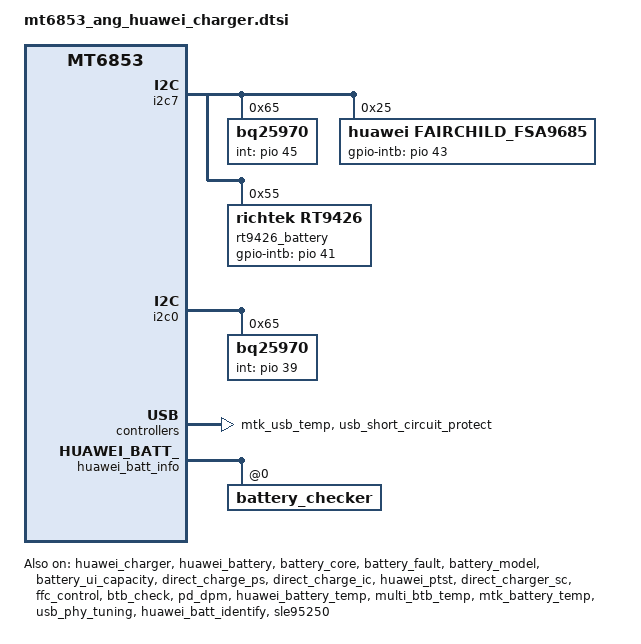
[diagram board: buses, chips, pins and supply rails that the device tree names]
&charger {
	ac_charger_current = <2100000>;
	ac_charger_input_current = <2000000>;
	fcp_charger_current = <2800000>;
	fcp_charger_input_current = <1500000>;
	non_std_ac_charger_current = <1500000>;
	pd_vbus_upper_bound = <9000000>;
	max_charger_voltage = <12000000>;
	bc12_charger = <22>; /* usb switch do bc12 */
	dpm_enable;
	ignore_batt_check = <1>;
	battery_cv = <4440000>;
	iterm = <500000>;
	vbus_max_limit = <11500>;
	jeita_temp_t2_to_t3_cv = <4440000>;
	jeita_temp_t1_to_t2_cv = <4440000>;
	jeita_temp_t0_to_t1_cv = <4440000>;
	jeita_temp_t2_to_t3_cur = <2100000>;
	vdpm_buf_limit = <100>;
	vdpm_para =
			"-32767", "4000", "4300", "50",
			"4000", "4200", "4500", "50",
			"4200", "32767", "4600", "50";
	charge_full_design = <3700000>;
};

&pio {
	bq25970_main_irq_pins_default: bq25970_main_irq_pins_default {
		pins_cmd_dat {
			pinmux = <PINMUX_GPIO45__FUNC_GPIO45>;
			slew-rate = <0>;
			bias-pull-up;
		};
	};
	bq25970_aux_irq_pins_default: bq25970_aux_irq_pins_default {
		pins_cmd_dat {
			pinmux = <PINMUX_GPIO39__FUNC_GPIO39>;
			slew-rate = <0>;
			bias-pull-up;
		};
	};
	fsa9685_irq_pins_default: fsa9685_irq_pins_default {
		pins_cmd_dat {
			pinmux = <PINMUX_GPIO43__FUNC_GPIO43>;
			slew-rate = <0>;
			bias-pull-up;
		};
	};
	rt9426_irq_pins_default: rt9426_irq_pins_default {
		pins_cmd_dat {
			pinmux = <PINMUX_GPIO41__FUNC_GPIO41>;
			slew-rate = <0>;
			bias-pull-up;
		};
	};
	bq27z561_irq_pins_default: bq27z561_irq_pins_default {
		pins_cmd_dat {
			pinmux = <PINMUX_GPIO41__FUNC_GPIO41>;
			slew-rate = <0>;
			bias-pull-up;
		};
	};
	battct_swi_pins_default: battct_swi_pins_default {
		pins_cmd_dat {
			pinmux = <PINMUX_GPIO46__FUNC_GPIO46>;
			slew-rate = <0>;
			bias-disabled;
			input-enable;
			drive-strength = <3>;
		};
	};
	battct_id_pins_default: battct_id_pins_default {
		pins_cmd_dat {
			pinmux = <PINMUX_GPIO48__FUNC_GPIO48>;
			slew-rate = <0>;
			bias-disabled;
			output-high;
		};
	};
};

&i2c7 {
	bq25970@65 {
		compatible = "bq25970";
		pinctrl-names = "default";
		pinctrl-0 = <&bq25970_main_irq_pins_default>;
		gpio_int = <&pio 45 0x0>;
		switching_frequency = <675>;
		sense_r_config = <20>;
		sense_r_actual = <10>;
		reg = <0x65>;
		status = "ok";
	};

	fairchild_fsa9685@25 {
		compatible = "huawei,fairchild_fsa9685";
		reg = <0x25>;
		pinctrl-names = "default";
		pinctrl-0 = <&fsa9685_irq_pins_default>;
		fairchild_fsa9685,gpio-intb = <&pio 43 0x0>;
		fcp_support = <1>;
		scp_support = <1>;
		power_by_5v = <1>;
		close_bc12 = <1>;
		need_other_bc12 = <0>;
		ignore_force_ac = <1>;
		/* for rt8979 */
		interrupt-names = "vbus_change", "device_change", "detach",
			"attach";
		/* auto_switch; */
		scp;
		dcd;
		dcd_timeout = <600>;  /* ms */
		intb_watchdog = <1000>;  /* ms */
		ovp_sel = <14500000>;  /* uV */
		status = "ok";
	};
	bq27z561_fg@55 {
		reg = <0x55>;
		compatible = "huawei,bq27z561";
		status = "disabled";
		pinctrl-names = "default";
		pinctrl-0 = <&bq27z561_irq_pins_default>;
		bq27z561,gpio-intb = <&pio 41 0x0>;
		ntc_compensation_is = <1>;
		ntc_temp_compensation_para =
			"11000", "140",
			"10000", "120",
			"9000", "100",
			"8000", "80",
			"7000", "60",
			"6000", "50",
			"5000", "40",
			"3000", "20",
			"2000", "10";
		batt_default_name = "BCYCAE_3700_4445_BT167";
		#include "ti_BCYCAE_4445_3700mah_BT167.dtsi"
	};
	rt9426_battery@55{
		reg = <0x55>;
		rt,bat_name = "rt_battery";
		compatible = "richtek,rt9426";
		pinctrl-names = "default";
		pinctrl-0 = <&rt9426_irq_pins_default>;
		rt9426,gpio-intb = <&pio 41 0x0>;
		rt,dtsi_version = <06 926>;
		rt,battery_type = <4400>;
		rt,volt_source = <1>;		/* 0:AP 1:FG_VBAT 2:FG_OCV; 3:FG_AV  */
		rt,temp_source = <1>;		/* 0:AP 1:FG_TEMP 2:FG_INTT; 3:FG_AT */
		rt,curr_source = <2>;		/* 0:AP 1:FG_CURR 2:FG_AI            */
		rt,offset_interpolation_order = <2 2>;
		rt,soc_offset_size = <2 1>;
		rt,soc_offset_data = < 0 250 0 1000 250 0>;
		rt,extreg_size = <30>;
		rt_config_ver = <7>;
		rt,extreg_data = <
			0x1 0x4A 0x320B
			0x1 0x4C 0x0402
			0x1 0x4E 0x2828
			0x2 0x4E 0x2404
			0x3 0x4E 0xB71C
			0x5 0x48 0x020A
			0x5 0x4C 0x3223
			0x6 0x40 0x8813
			0x6 0x42 0x8224
			0x6 0x44 0xAF77
			0x6 0x48 0xA310
			0x6 0x4A 0x6852
			0x6 0x4C 0x6457
			0x6 0x4E 0x0464
			0x7 0x40 0x0D12
			0x7 0x42 0x0508
			0x7 0x44 0x0505
			0x7 0x46 0x0101
			0x7 0x48 0x0101
			0x7 0x4A 0x0101
			0x7 0x4C 0x0001
			0x7 0x4E 0xFFFF
			0x8 0x40 0xFFFE
			0x8 0x42 0xFFFF
			0x8 0x44 0xFAFA
			0x8 0x46 0xF9FA
			0x8 0x48 0xFFFF
			0x8 0x4A 0xF2FF
			0x8 0x4C 0xECF2
			0x8 0x4E 0x00E7 >;
		rt,design_capacity = <1480>;
		rt,fcc = <1476>;
		rt,fg_fc_vth = <0x9F>;
		rt,fg_fc_ith = <0x3A>;
		rt,fg_fc_sth = <0x05>;
		rt,fg_fd_vth = <0x6A>;
		rt,fg_op_config = <0x3400 0x0000 0x3EFB 0x2000 0x087E>;
		rt,fg_otc_tth = <0x0064>;
		rt,fg_otc_chg_ith = <0x045F>;
		rt,fg_otd_tth = <0x0064>;
		rt,fg_otd_dchg_ith = <0x045F>;
		rt,fg_uvov_threshold = <0x00FF>;
		rt,fg_us_threshold = <0x00>;
		rt,fg_curr_db = <0x04>;
		rt,rs_ic_setting = <250>; /* 2.5mR */
		rt,rs_schematic = <100>; /* 1.0mR */
		rt,smooth_soc_en = <0>;  /* 0: disable(default) ; 1: enable */
		rt,fg_ocv_table = < 0x0013 0x44C0 0x4B00 0x55F3 0x5A60 0x5BED 0x5C93 0x5DFA
				0x5FA6 0x60AD 0x619A 0x62CD 0x63AD 0x662D 0x687A 0x69E0
				0x6B0D 0x6C46 0x6DC0 0x706D 0x1900 0x0AF3 0x0367 0x01A2
				0x002B 0x004B 0x0035 0x003E 0x0058 0x00A6 0x0080 0x007F
				0x0090 0x0092 0x008F 0x008B 0x006D 0x0112 0x0013 0xFF80
				0x0000 0x0200 0x049A 0x0680 0x0E4D 0x17E6 0x281A 0x309A
				0x3600 0x39B3 0x3D33 0x474D 0x4F80 0x5466 0x589A 0x5D1A
				0x6400 0x6900 0x000A 0x0017 0x004B 0x009D 0x0600 0x036E
				0x04D6 0x0425 0x02EB 0x018B 0x0200 0x0205 0x01C8 0x01C0
				0x01CA 0x01D6 0x0257 0x00EF 0x27A8 0x0000 0x0000 0x0000 >;
		ntc_compensation_is = <1>;
		ntc_temp_compensation_para =
			"11000", "140",
			"10000", "120",
			"9000", "100",
			"8000", "80",
			"7000", "60",
			"6000", "50",
			"5000", "40",
			"3000", "20",
			"2000", "10";
		status = "ok";
	};
};
&i2c0 {
	bq25970@65 {
		compatible = "bq25970";
		pinctrl-names = "default";
		pinctrl-0 = <&bq25970_aux_irq_pins_default>;
		gpio_int = <&pio 39 0x0>;
		ic_role = <1>;
		switching_frequency = <675>;
		sense_r_config = <20>;
		sense_r_actual = <10>;
		reg = <0x65>;
		status = "ok";
	};
};
&huawei_charger {
	compatible = "huawei,charger";
	en_eoc_max_delay = <6>;
	status = "okay";
};

&huawei_battery {
	compatible = "huawei,battery";
	voltage_max_design = <4430000>;
	use_third_coul = <1>;
	status = "okay";
};

&huawei_power_proxy  {
	status = "ok";
};
&huawei_power_supply {
	status = "ok";
};
&battery_core {
	status = "ok";
};
&battery_fault {
	status = "ok";
};
&battery_model {
	bat_id_table =
		"BITCAE", "0", "0", "IA",
		"BCYCAE", "0", "0", "CA";
	design_fcc = <3800>;
	status = "ok";
};
&battery_ui_capacity {
	status = "ok";
};

&lk_charger{
	ac_charger_current = <1050000>;
	ac_charger_input_current = <1050000>;
	non_std_ac_charger_current = <1050000>;
	max_charger_voltage = <12000000>;
	is_power_path;
	poweron_charger_enable = <1>;
	ignore_bat_check = <1>;
};

&direct_charge_ps {
	status = "ok";
};

&direct_charge_ic {
	/* ic_index  path_index  max_ibat  ibat_sample_point  vbat_sample_point */
	ic_para1 =
		"0", "0", "0", "0", "0",
		"1", "1", "0", "0", "1";
	mode_para =
		"sc_mode", "ic_para1";
	status = "ok";
};

&direct_charger {
	status = "disabled";
};

&huawei_ptst {
	compatible = "huawei,power_test";
	dc_mmi_para = <45 0x01 1 5000 5>;
	status = "ok";
};

&direct_charger_sc {
	use_5A = <1>;
	use_higher_vbat = <1>;
	adaptor_antifake_check_enable = <1>;
	adaptor_antifake_key_index = <2>;
	dc_volt_ratio = <2>;
	max_adaptor_vset = <11000>;
	init_adapter_vset = <8800>;
	delta_err_10v2p25a = <150>;
	vol_err_th = <300>;
	adaptor_leakage_current_th = <600>;
	high_temp_hysteresis = <1>;
	gain_curr_10v2a = <300>;
	gain_curr_10v2p25a = <500>;
	init_delt_vset = <450>;
	vstep = <20>;
	max_dc_bat_vol = <4380>;
	max_current_for_none_standard_cable = <6000>;
	volt_para =
		"4150", "7600", "5700",
		"4250", "5700", "3800",
		"4300", "3800", "2800",
		"4420", "2800", "1000";
	volt_para1 =
		"4200", "12400", "11300",
		"4250", "11300", "7900",
		"4360", "7900", "6000",
		"4400", "6000", "4600",
		"4420", "4600", "1200";
	bat_para =
		"CAE", "10", "20", "volt_para",
		"CAE", "20", "45", "volt_para1",
		"default", "10", "20", "volt_para",
		"default", "20", "45", "volt_para1";
	second_resist_para =
		"0", "250", "0",
		"250", "450", "8000";
	vbat_error =
		"3", "100", "2", "-1",
		"3", "60", "1", "8000";
	current_ratio =
		"3", "6", "16", "2", "-1",
		"3", "9", "13", "1", "8000",
		"0", "9", "13", "0", "0";
	adapter_max_power_time_para =
		"3", "600", "6000",
		"4", "1200", "3000",
		"5", "600", "6000",
		"6", "600", "6000",
		"7", "600", "6000",
		"8", "600", "6000",
		"9", "1200", "3000",
		"10", "1200", "3000",
		"12", "600", "6000",
		"13", "600", "6000",
		"14", "600", "6000",
		"15", "1200", "3000";
	vstep_para =
			"2000", "80";
	compensate_r = <0>;
	cc_cable_detect_enable = <1>;
	cc_unsafe_sc_enable = <1>;
	full_path_res_max = <500>;
	scp_work_on_charger = <1>;
	standard_cable_full_path_res_max = <500>;
	first_cc_stage_timer_in_min = <14>;
	stage_need_to_jump = "-1";
	is_show_ico_first = <1>;
	is_send_cable_type = <0>;
	support_multi_ic = <1>;
	support_select_temp = <1>;
	cam_flash_stop = <0>;
	vbat_comp_para =
		"rt9426", "20", "20";
	10v4a_cur_para =
		"-32767", "11000", "4000";
	rt_test_para =
		/* first:sc second:mainsc third:auxsc */
		"1200", "50",
		"1200", "50",
		"1200", "50";
	temp_para =
		"-32767", "10", "0",
		"10", "46", "12500",
		"46", "32767", "0";
	resist_para =
		"0", "300", "6000",
		"300", "500", "5000";
	std_resist_para =
		"0", "300", "12500",
		"300", "500", "5000";
	10v2p25a_cur_para =
		"-32767", "5500",  "2000",
		"5500",   "9000",  "2500",
		"9000",   "10000", "2250",
		"10000",  "10500", "2000",
		"10500",  "32767", "1500";
	status = "ok";
};

&ffc_control {
	status = "ok";
	dc_vbat_para =
		"4420", "4420";
};

&btb_check {
	vol_check_para = "1", "1", "2700", "4700", "120", "3", "0";
	temp_check_para = "1", "1", "-40", "80", "10", "3", "0";
	status = "ok";
};

&bat_gm30 {
	status = "disabled";
	bat_para =
		"BYTCAE", "1600000", "1800000";
        ntc_compensation_is = <1>;
        ntc_temp_compensation_para =
		"11000", "140",
		"10000", "120",
		"9000", "100",
		"8000", "80",
		"7000", "60",
		"6000", "50",
		"5000", "40",
		"3000", "20",
		"2000", "10";
	min_fcc = <2590000>;
	max_fcc = <3700000>;
	dlpt_optimization;
	CAR_TUNE_VALUE = <(500)>;
	ACTIVE_TABLE = <(0)>;
	MULTI_BATTERY = <0>;
	#include "BYTCAE_4v43_3700mah_ext.dtsi"
};

&usb_c_pinctrl {
	status = "disabled";
};

&pd_dpm {
	support_analog_audio = <1>;
	status = "ok";
};

&mt6360_pmu {
	mt6360,intr_gpio_num = <10>; /* direct defined GPIO num */
	mt6360,intr_gpio = <&pio 10 0x0>;
};

&mt6360_typec {
	mt6360pd,intr_gpio_num = <9>; /* direct defined GPIO num */
	mt6360pd,intr_gpio = <&pio 9 0x0>;
};

&huawei_battery_temp {
	status = "ok";
};

&multi_btb_temp {
	status = "ok";
	ntc_compensation_is = <1>;
	comp_para  =
		"110000", "14000",
		"100000", "12000",
		"900000", "10000",
		"800000", "8000",
		"70000", "6000",
		"60000", "5000",
		"50000", "4000",
		"30000", "2000",
		"20000", "1000";
	sensor-names =
		"mtk_batt_temp", "comp_para",
		"rt_battery", "comp_para";
};

&mtk_battery_temp {
	v_pullup = <2800>;
	r_pullup = <22000>;
	com_r_fg_value = <5>;
	no_bat_temp_compensate = <0>;
	com_fg_meter_resistance = <100>;
	status = "ok";
};

&power_thermalzone {
	status = "ok";
	sensors {
		sensor1 {
			sensor_name = "mtk_batt_temp";
			ops_name = "mtk_batt_temp";
			adc_channel = <2>;
			ntc_index = <7>;
		};
	};
};

&mtk_usb_temp {
	status = "ok";
};

&usb_short_circuit_protect {
	uscp_threshold_tusb = <40>;
	open_mosfet_temp = <30>;
	close_mosfet_temp = <10>;
	open_hiz_temp = <30>;
	interval_switch_temp = <15>;
	status = "ok";
};

&usb_phy_tuning {
		h_u2_vrt_ref = <6>;
		h_u2_term_ref = <6>;
		h_u2_enhance = <3>;
		d_u2_vrt_ref = <7>;
		d_u2_term_ref = <7>;
		d_u2_enhance = <3>;
		status = "ok";
};

&huawei_batt_identify {
	pinctrl-names = "default";
	pinctrl-0 = <&battct_id_pins_default>;
	gpios = <&pio 48 0x0>;
	id_voltage_gpiov = <0 1>;
	id_sn_gpiov = <0 0>;
	status = "ok";
};

&huawei_batt_info {
	status = "ok";
	shield_ct_sign = <1>;
	battery_checker@0 {
		matchable = <&sle95250>;
		status = "ok";
	};
};

&sle95250 {
	pinctrl-names = "default";
	pinctrl-0 = <&battct_swi_pins_default>;
	onewire-gpio = <&pio 46 0x0>;
	product_id0 = <1>;
	product_id2 = <3>;
	gpio_sn_mode_val = <0>;
	dip_check = <0>;
	gpio_swi = <46>;
	gpio_id_mode = <48>;
	gpio_swi_drv = <3>;
	status = "ok";
};

&soc_decimal {
	ui_offset = <0>;
};
